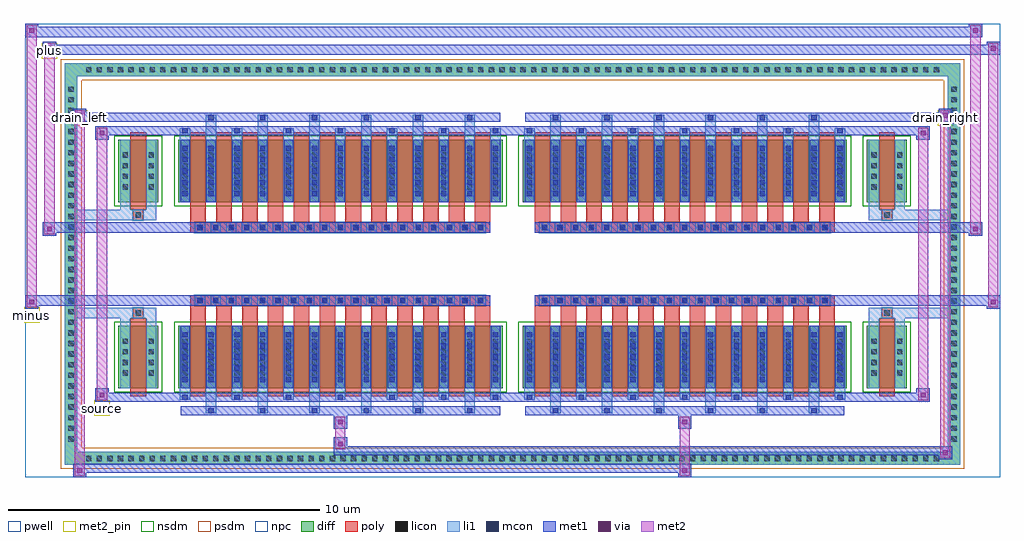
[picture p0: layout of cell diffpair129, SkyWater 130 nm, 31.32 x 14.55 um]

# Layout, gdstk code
import gdstk
lib = gdstk.Library(unit=1e-6, precision=5e-09)
def R(c, l, rs):  # rectangles x0, y0, x1, y1
    for r in rs: c.add(gdstk.rectangle(r[:2], r[2:], *l))
def A(c, l, x, y, w, h, nx, ny, dx, dy):  # array of equal rectangles
    R(c, l, [(x+i*dx, y+j*dy, x+i*dx+w, y+j*dy+h) for i in range(nx) for j in range(ny)])
def P(c, l, *ps):  # polygons
    for p in ps: c.add(gdstk.Polygon(p, *l))
pwell = (64, 44)
diff = (65, 20)
poly = (66, 20)
licon = (66, 44)
li1 = (67, 20)
mcon = (67, 44)
met1 = (68, 20)
via = (68, 44)
met2_pin = (69, 16)
met2 = (69, 20)
nsdm = (93, 44)
psdm = (94, 20)
npc = (95, 20)

diffpair129 = lib.new_cell('diffpair129')
R(diffpair129, pwell, [(-15.64,-6.84,15.64,7.71), (-12.96,-5.03,-0.01,-0.805), (0.01,-5.03,12.96,-0.805), (-12.96,0.805,-0.01,5.03), (0.01,0.805,12.96,5.03)])
A(diffpair129, diff, -13.805, -6.44, 0.41, 0.41, 81, 2, 0.34, 12.47)
A(diffpair129, diff, -14.37, -5.815, 0.41, 0.41, 1, 34, 0, 0.34)
A(diffpair129, diff, 13.96, -5.815, 0.41, 0.41, 1, 34, 0, 0.34)
R(diffpair129, diff, [(-13.805,-6.44,13.805,-6.03), (-14.37,-5.815,-13.96,5.815), (13.96,-5.815,14.37,5.815), (-12.65,-3.985,-11.37,-1.985), (-10.73,-3.985,-0.32,-1.985), (0.32,-3.985,10.73,-1.985), (11.37,-3.985,12.65,-1.985), (-12.65,1.985,-11.37,3.985), (-10.73,1.985,-0.32,3.985), (0.32,1.985,10.73,3.985), (11.37,1.985,12.65,3.985), (-13.805,6.03,13.805,6.44)])
P(diffpair129, diff, [(14.37,6.44),(-14.37,6.44),(-14.37,-6.03),(-13.96,-6.03),(-13.96,6.03),(13.96,6.03),(13.96,-6.03),(-13.96,-6.03),(-14.37,-6.03),(-14.37,-6.44),(14.37,-6.44)])
A(diffpair129, poly, -10.34, -4.235, 0.5, 2.5, 12, 2, 0.83, 5.97)
A(diffpair129, poly, 0.71, -4.235, 0.5, 2.5, 12, 2, 0.83, 5.97)
A(diffpair129, poly, -10.34, -1.735, 0.5, 0.4, 12, 2, 0.83, 3.07)
A(diffpair129, poly, 0.71, -1.735, 0.5, 0.4, 12, 2, 0.83, 3.07)
A(diffpair129, poly, -10.19, -1.335, 0.33, 0.33, 19, 2, 0.5, 2.34)
A(diffpair129, poly, 0.86, -1.335, 0.33, 0.33, 19, 2, 0.5, 2.34)
R(diffpair129, poly, [(-12.26,-4.235,-11.76,-1.735), (11.76,-4.235,12.26,-1.735), (-12.175,-1.735,-11.845,-1.405), (-12.175,-1.735,-11.845,-1.405), (11.845,-1.735,12.175,-1.405), (11.845,-1.735,12.175,-1.405), (-10.34,-1.335,-0.71,-1.005), (0.71,-1.335,10.34,-1.005), (-10.34,1.005,-0.71,1.335), (0.71,1.005,10.34,1.335), (-12.175,1.405,-11.845,1.735), (-12.175,1.405,-11.845,1.735), (11.845,1.405,12.175,1.735), (11.845,1.405,12.175,1.735), (-12.26,1.735,-11.76,4.235), (11.76,1.735,12.26,4.235)])
A(diffpair129, licon, -13.685, -6.32, 0.17, 0.17, 81, 2, 0.34, 12.47)
A(diffpair129, licon, -14.25, -5.695, 0.17, 0.17, 1, 34, 0, 0.34)
A(diffpair129, licon, 14.08, -5.695, 0.17, 0.17, 1, 34, 0, 0.34)
A(diffpair129, licon, -12.51, -3.58, 0.17, 0.17, 1, 4, 0, 0.34)
A(diffpair129, licon, -11.68, -3.58, 0.17, 0.17, 1, 4, 0, 0.34)
A(diffpair129, licon, -10.59, -3.58, 0.17, 0.17, 13, 4, 0.83, 0.34)
A(diffpair129, licon, 0.46, -3.58, 0.17, 0.17, 13, 4, 0.83, 0.34)
A(diffpair129, licon, 11.51, -3.58, 0.17, 0.17, 1, 4, 0, 0.34)
A(diffpair129, licon, 12.34, -3.58, 0.17, 0.17, 1, 4, 0, 0.34)
A(diffpair129, licon, -10.11, -1.255, 0.17, 0.17, 19, 2, 0.5, 2.34)
A(diffpair129, licon, 0.94, -1.255, 0.17, 0.17, 19, 2, 0.5, 2.34)
A(diffpair129, licon, -12.51, 2.39, 0.17, 0.17, 1, 4, 0, 0.34)
A(diffpair129, licon, -11.68, 2.39, 0.17, 0.17, 1, 4, 0, 0.34)
A(diffpair129, licon, -10.59, 2.39, 0.17, 0.17, 13, 4, 0.83, 0.34)
A(diffpair129, licon, 0.46, 2.39, 0.17, 0.17, 13, 4, 0.83, 0.34)
A(diffpair129, licon, 11.51, 2.39, 0.17, 0.17, 1, 4, 0, 0.34)
A(diffpair129, licon, 12.34, 2.39, 0.17, 0.17, 1, 4, 0, 0.34)
R(diffpair129, licon, [(-12.095,-1.655,-11.925,-1.485), (11.925,-1.655,12.095,-1.485), (-12.095,1.485,-11.925,1.655), (11.925,1.485,12.095,1.655)])
A(diffpair129, li1, -13.765, -6.4, 0.33, 0.33, 81, 2, 0.34, 12.47)
A(diffpair129, li1, -14.33, -5.775, 0.33, 0.33, 1, 34, 0, 0.34)
A(diffpair129, li1, 14, -5.775, 0.33, 0.33, 1, 34, 0, 0.34)
A(diffpair129, li1, -9.84, -4.79, 0.33, 0.805, 6, 2, 1.66, 8.775)
A(diffpair129, li1, -9.76, -4.79, 0.17, 0.17, 6, 2, 1.66, 9.41)
A(diffpair129, li1, 1.21, -4.79, 0.33, 0.805, 6, 2, 1.66, 8.775)
A(diffpair129, li1, 1.29, -4.79, 0.17, 0.17, 6, 2, 1.66, 9.41)
A(diffpair129, li1, -10.67, -4.36, 0.33, 0.375, 7, 2, 1.66, 8.345)
A(diffpair129, li1, -10.59, -4.36, 0.17, 0.17, 7, 2, 1.66, 8.55)
A(diffpair129, li1, 0.38, -4.36, 0.33, 0.375, 7, 2, 1.66, 8.345)
A(diffpair129, li1, 0.46, -4.36, 0.17, 0.17, 7, 2, 1.66, 8.55)
A(diffpair129, li1, -10.67, -3.985, 0.33, 2, 13, 2, 0.83, 5.97)
A(diffpair129, li1, 0.38, -3.985, 0.33, 2, 13, 2, 0.83, 5.97)
A(diffpair129, li1, -10.59, -3.79, 0.17, 0.17, 13, 5, 0.83, 0.36)
A(diffpair129, li1, -10.59, -3.79, 0.17, 1.61, 13, 2, 0.83, 5.97)
A(diffpair129, li1, 0.46, -3.79, 0.17, 0.17, 13, 5, 0.83, 0.36)
A(diffpair129, li1, 0.46, -3.79, 0.17, 1.61, 13, 2, 0.83, 5.97)
A(diffpair129, li1, -12.59, -3.66, 0.33, 0.33, 1, 4, 0, 0.34)
A(diffpair129, li1, -11.76, -3.66, 0.33, 0.33, 1, 4, 0, 0.34)
A(diffpair129, li1, -10.67, -3.66, 0.33, 0.33, 13, 4, 0.83, 0.34)
A(diffpair129, li1, 0.38, -3.66, 0.33, 0.33, 13, 4, 0.83, 0.34)
A(diffpair129, li1, 11.43, -3.66, 0.33, 0.33, 1, 4, 0, 0.34)
A(diffpair129, li1, 12.26, -3.66, 0.33, 0.33, 1, 4, 0, 0.34)
A(diffpair129, li1, -10.19, -1.335, 0.33, 0.33, 19, 2, 0.5, 2.34)
A(diffpair129, li1, 0.86, -1.335, 0.33, 0.33, 19, 2, 0.5, 2.34)
A(diffpair129, li1, -10.59, 2.18, 0.17, 0.17, 13, 5, 0.83, 0.36)
A(diffpair129, li1, 0.46, 2.18, 0.17, 0.17, 13, 5, 0.83, 0.36)
A(diffpair129, li1, -12.59, 2.31, 0.33, 0.33, 1, 4, 0, 0.34)
A(diffpair129, li1, -11.76, 2.31, 0.33, 0.33, 1, 4, 0, 0.34)
A(diffpair129, li1, -10.67, 2.31, 0.33, 0.33, 13, 4, 0.83, 0.34)
A(diffpair129, li1, 0.38, 2.31, 0.33, 0.33, 13, 4, 0.83, 0.34)
A(diffpair129, li1, 11.43, 2.31, 0.33, 0.33, 1, 4, 0, 0.34)
A(diffpair129, li1, 12.26, 2.31, 0.33, 0.33, 1, 4, 0, 0.34)
R(diffpair129, li1, [(-14.37,-6.44,-13.96,-6.03), (-14.37,-6.44,-13.96,-6.03), (-13.96,-6.44,13.96,-6.03), (13.96,-6.44,14.37,-6.03), (13.96,-6.44,14.37,-6.03), (-14.37,-6.03,-13.96,6.03), (13.96,-6.03,14.37,6.03), (-12.59,-3.985,-12.26,-1.985), (-11.76,-3.985,-11.43,-1.985), (11.43,-3.985,11.76,-1.985), (12.26,-3.985,12.59,-1.985), (-12.59,-1.985,-12.26,-1.405), (-11.76,-1.985,-11.43,-1.405), (11.43,-1.985,11.76,-1.405), (12.26,-1.985,12.59,-1.405), (-14.37,-1.735,-12.175,-1.405), (-12.59,-1.735,-12.175,-1.405), (-12.175,-1.735,-11.845,-1.405), (-11.845,-1.735,-11.43,-1.405), (11.43,-1.735,11.845,-1.405), (11.845,-1.735,12.175,-1.405), (11.845,-1.735,14.37,-1.405), (12.175,-1.735,12.59,-1.405), (-14.37,1.405,-12.175,1.735), (-12.59,1.405,-12.175,1.735), (-12.59,1.405,-12.26,1.985), (-12.175,1.405,-11.845,1.735), (-11.845,1.405,-11.43,1.735), (-11.76,1.405,-11.43,1.985), (11.43,1.405,11.845,1.735), (11.43,1.405,11.76,1.985), (11.845,1.405,12.175,1.735), (11.845,1.405,14.37,1.735), (12.175,1.405,12.59,1.735), (12.26,1.405,12.59,1.985), (-12.59,1.985,-12.26,3.985), (-11.76,1.985,-11.43,3.985), (11.43,1.985,11.76,3.985), (12.26,1.985,12.59,3.985), (-14.37,6.03,-13.96,6.44), (-14.37,6.03,-13.96,6.44), (-13.96,6.03,13.96,6.44), (13.96,6.03,14.37,6.44), (13.96,6.03,14.37,6.44)])
A(diffpair129, mcon, -9.76, -4.79, 0.17, 0.17, 6, 2, 1.66, 9.41)
A(diffpair129, mcon, 1.29, -4.79, 0.17, 0.17, 6, 2, 1.66, 9.41)
A(diffpair129, mcon, -10.59, -4.36, 0.17, 0.17, 7, 2, 1.66, 8.55)
A(diffpair129, mcon, 0.46, -4.36, 0.17, 0.17, 7, 2, 1.66, 8.55)
A(diffpair129, mcon, -10.59, -3.79, 0.17, 0.17, 13, 5, 0.83, 0.36)
A(diffpair129, mcon, 0.46, -3.79, 0.17, 0.17, 13, 5, 0.83, 0.36)
A(diffpair129, mcon, -10.11, -1.255, 0.17, 0.17, 19, 2, 0.5, 2.34)
A(diffpair129, mcon, 0.94, -1.255, 0.17, 0.17, 19, 2, 0.5, 2.34)
A(diffpair129, mcon, -10.59, 2.18, 0.17, 0.17, 13, 5, 0.83, 0.36)
A(diffpair129, mcon, 0.46, 2.18, 0.17, 0.17, 13, 5, 0.83, 0.36)
A(diffpair129, met1, -9.82, -4.85, 0.29, 0.29, 6, 2, 1.66, 9.41)
A(diffpair129, met1, 1.23, -4.85, 0.29, 0.29, 6, 2, 1.66, 9.41)
A(diffpair129, met1, -10.65, -4.42, 0.29, 0.29, 7, 2, 1.66, 8.55)
A(diffpair129, met1, 0.4, -4.42, 0.29, 0.29, 7, 2, 1.66, 8.55)
A(diffpair129, met1, -10.65, -3.985, 0.29, 2, 13, 2, 0.83, 5.97)
A(diffpair129, met1, 0.4, -3.985, 0.29, 2, 13, 2, 0.83, 5.97)
A(diffpair129, met1, -10.65, -3.85, 0.29, 0.29, 13, 5, 0.83, 0.36)
A(diffpair129, met1, 0.4, -3.85, 0.29, 0.29, 13, 5, 0.83, 0.36)
A(diffpair129, met1, -10.17, -1.315, 0.29, 0.29, 19, 2, 0.5, 2.34)
A(diffpair129, met1, 0.88, -1.315, 0.29, 0.29, 19, 2, 0.5, 2.34)
A(diffpair129, met1, -10.65, 2.12, 0.29, 0.29, 13, 5, 0.83, 0.36)
A(diffpair129, met1, 0.4, 2.12, 0.29, 0.29, 13, 5, 0.83, 0.36)
R(diffpair129, met1, [(-14.1,-6.84,-13.67,-6.41), (5.31,-6.84,5.74,-6.41), (-14.1,-6.7,5.74,-6.41), (13.67,-6.27,14.1,-5.84), (-5.74,-6.13,14.1,-5.84), (-5.74,-5.99,-5.31,-5.56), (-5.74,-5.28,-5.31,-4.85), (5.31,-5.28,5.74,-4.85), (-10.65,-4.85,-0.4,-4.56), (0.4,-4.85,10.65,-4.56), (-13.39,-4.42,-12.96,-3.99), (-13.39,-4.42,-10.65,-4.13), (-10.65,-4.42,-0.4,-4.13), (-0.4,-4.42,0.4,-4.13), (0.4,-4.42,10.65,-4.13), (10.65,-4.42,13.39,-4.13), (12.96,-4.42,13.39,-3.99), (-15.64,-1.435,-15.21,-1.005), (15.21,-1.435,15.64,-1.005), (-15.64,-1.335,-0.71,-1.005), (-10.34,-1.335,-0.71,-1.005), (0.71,-1.335,10.34,-1.005), (0.71,-1.335,15.64,-1.005), (-15.07,0.905,-14.64,1.335), (14.64,0.905,15.07,1.335), (-15.07,1.005,-10.34,1.335), (-10.34,1.005,-0.71,1.335), (0.71,1.005,10.34,1.335), (10.34,1.005,15.07,1.335), (-13.39,3.99,-12.96,4.42), (12.96,3.99,13.39,4.42), (-13.39,4.13,-10.65,4.42), (-10.65,4.13,-0.4,4.42), (-0.4,4.13,0.4,4.42), (0.4,4.13,10.65,4.42), (10.65,4.13,13.39,4.42), (-14.1,4.56,-13.67,4.99), (-14.1,4.56,-10.65,4.85), (-10.65,4.56,-0.4,4.85), (0.4,4.56,10.65,4.85), (10.65,4.56,14.1,4.85), (13.67,4.56,14.1,4.99), (-15.07,6.71,-14.64,7.14), (-15.07,6.71,-12.96,7.04), (-12.96,6.71,12.96,7.04), (12.96,6.71,15.64,7.04), (15.21,6.71,15.64,7.14), (-15.64,7.28,-15.21,7.71), (-15.64,7.28,-12.96,7.61), (-12.96,7.28,12.96,7.61), (12.96,7.28,15.07,7.61), (14.64,7.28,15.07,7.71)])
R(diffpair129, via, [(-13.96,-6.7,-13.81,-6.55), (5.45,-6.7,5.6,-6.55), (13.81,-6.13,13.96,-5.98), (-5.6,-5.85,-5.45,-5.7), (-5.6,-5.14,-5.45,-4.99), (5.45,-5.14,5.6,-4.99), (-13.25,-4.28,-13.1,-4.13), (13.1,-4.28,13.25,-4.13), (-15.5,-1.295,-15.35,-1.145), (15.35,-1.295,15.5,-1.145), (-14.93,1.045,-14.78,1.195), (14.78,1.045,14.93,1.195), (-13.25,4.13,-13.1,4.28), (13.1,4.13,13.25,4.28), (-13.96,4.7,-13.81,4.85), (13.81,4.7,13.96,4.85), (-14.93,6.85,-14.78,7), (15.35,6.85,15.5,7), (-15.5,7.42,-15.35,7.57), (14.78,7.42,14.93,7.57)])
R(diffpair129, met2_pin, [(-13.425,-4.87,-12.925,-4.37), (-15.675,-1.885,-15.175,-1.385), (-14.135,4.44,-13.635,4.94), (13.635,4.44,14.135,4.94), (-15.105,6.59,-14.605,7.09)])
R(diffpair129, met2, [(-14.05,-6.79,-13.72,-6.46), (-14.05,-6.79,-13.72,4.94), (5.36,-6.79,5.69,-6.46), (5.36,-6.46,5.69,-5.23), (13.72,-6.22,14.05,-5.89), (13.72,-6.22,14.05,4.94), (-5.69,-5.94,-5.36,-5.61), (-5.69,-5.61,-5.36,-5.23), (-5.69,-5.23,-5.36,-4.9), (5.36,-5.23,5.69,-4.9), (-13.34,-4.37,-13.01,-4.04), (-13.34,-4.37,-13.01,4.37), (13.01,-4.37,13.34,-4.04), (13.01,-4.37,13.34,4.37), (-15.59,-1.385,-15.26,-1.055), (-15.59,-1.385,-15.26,7.66), (15.26,-1.385,15.59,-1.055), (15.26,-1.385,15.59,7.09), (-15.02,0.955,-14.69,1.285), (-15.02,0.955,-14.69,7.09), (14.69,0.955,15.02,1.285), (14.69,0.955,15.02,7.66), (-13.34,4.04,-13.01,4.37), (13.01,4.04,13.34,4.37), (-14.05,4.61,-13.72,4.94), (13.72,4.61,14.05,4.94), (-15.02,6.76,-14.69,7.09), (15.26,6.76,15.59,7.09), (-15.59,7.33,-15.26,7.66), (14.69,7.33,15.02,7.66)])
P(diffpair129, met2, [(15.59,-1.385),(15.59,-1.385),(15.59,-1.055),(15.59,-1.055)],
  [(15.59,6.76),(15.59,6.76),(15.59,7.09),(15.59,7.09)],
  [(-15.26,-1.385),(-15.26,-1.385),(-15.26,-1.055),(-15.26,-1.055)],
  [(-15.26,7.33),(-15.26,7.33),(-15.26,7.66),(-15.26,7.66)],
  [(15.02,0.955),(15.02,0.955),(15.02,1.285),(15.02,1.285)],
  [(15.02,7.33),(15.02,7.33),(15.02,7.66),(15.02,7.66)],
  [(-14.69,0.955),(-14.69,0.955),(-14.69,1.285),(-14.69,1.285)],
  [(-14.69,6.76),(-14.69,6.76),(-14.69,7.09),(-14.69,7.09)],
  [(-13.72,-6.79),(-13.72,-6.79),(-13.72,-6.46),(-13.72,-6.46)],
  [(-13.72,4.61),(-13.72,4.61),(-13.72,4.94),(-13.72,4.94)],
  [(14.05,-6.22),(14.05,-6.22),(14.05,-5.89),(14.05,-5.89)],
  [(14.05,4.61),(14.05,4.61),(14.05,4.94),(14.05,4.94)],
  [(-13.01,-4.37),(-13.01,-4.37),(-13.01,-4.04),(-13.01,-4.04)],
  [(-13.01,4.04),(-13.01,4.04),(-13.01,4.37),(-13.01,4.37)],
  [(13.34,-4.37),(13.34,-4.37),(13.34,-4.04),(13.34,-4.04)],
  [(13.34,4.04),(13.34,4.04),(13.34,4.37),(13.34,4.37)])
R(diffpair129, nsdm, [(-12.78,-4.115,-11.24,-1.855), (-10.86,-4.115,-0.19,-1.855), (0.19,-4.115,10.86,-1.855), (11.24,-4.115,12.78,-1.855), (-12.78,1.855,-11.24,4.115), (-10.86,1.855,-0.19,4.115), (0.19,1.855,10.86,4.115), (11.24,1.855,12.78,4.115)])
P(diffpair129, psdm, [(14.5,6.57),(-14.5,6.57),(-14.5,-5.9),(-13.83,-5.9),(-13.83,5.9),(13.83,5.9),(13.83,-5.9),(-13.83,-5.9),(-14.5,-5.9),(-14.5,-6.57),(14.5,-6.57)])
A(diffpair129, npc, -10.21, -1.355, 0.37, 0.37, 19, 2, 0.5, 2.34)
A(diffpair129, npc, 0.84, -1.355, 0.37, 0.37, 19, 2, 0.5, 2.34)
R(diffpair129, npc, [(-12.195,-1.755,-11.825,-1.385), (11.825,-1.755,12.195,-1.385), (-10.21,-1.355,-9.34,-0.985), (-10.21,-1.355,-9.34,-0.985), (-9.71,-1.355,-8.84,-0.985), (-9.71,-1.355,-8.84,-0.985), (-9.21,-1.355,-8.34,-0.985), (-9.21,-1.355,-8.34,-0.985), (-8.71,-1.355,-7.84,-0.985), (-8.71,-1.355,-7.84,-0.985), (-8.21,-1.355,-7.34,-0.985), (-8.21,-1.355,-7.34,-0.985), (-7.71,-1.355,-6.84,-0.985), (-7.71,-1.355,-6.84,-0.985), (-7.21,-1.355,-6.34,-0.985), (-7.21,-1.355,-6.34,-0.985), (-6.71,-1.355,-5.84,-0.985), (-6.71,-1.355,-5.84,-0.985), (-6.21,-1.355,-5.34,-0.985), (-6.21,-1.355,-5.34,-0.985), (-5.71,-1.355,-4.84,-0.985), (-5.71,-1.355,-4.84,-0.985), (-5.21,-1.355,-4.34,-0.985), (-5.21,-1.355,-4.34,-0.985), (-4.71,-1.355,-3.84,-0.985), (-4.71,-1.355,-3.84,-0.985), (-4.21,-1.355,-3.34,-0.985), (-4.21,-1.355,-3.34,-0.985), (-3.71,-1.355,-2.84,-0.985), (-3.71,-1.355,-2.84,-0.985), (-3.21,-1.355,-2.34,-0.985), (-3.21,-1.355,-2.34,-0.985), (-2.71,-1.355,-1.84,-0.985), (-2.71,-1.355,-1.84,-0.985), (-2.21,-1.355,-1.34,-0.985), (-2.21,-1.355,-1.34,-0.985), (-1.71,-1.355,-0.84,-0.985), (-1.71,-1.355,-0.84,-0.985), (0.84,-1.355,1.71,-0.985), (0.84,-1.355,1.71,-0.985), (1.34,-1.355,2.21,-0.985), (1.34,-1.355,2.21,-0.985), (1.84,-1.355,2.71,-0.985), (1.84,-1.355,2.71,-0.985), (2.34,-1.355,3.21,-0.985), (2.34,-1.355,3.21,-0.985), (2.84,-1.355,3.71,-0.985), (2.84,-1.355,3.71,-0.985), (3.34,-1.355,4.21,-0.985), (3.34,-1.355,4.21,-0.985), (3.84,-1.355,4.71,-0.985), (3.84,-1.355,4.71,-0.985), (4.34,-1.355,5.21,-0.985), (4.34,-1.355,5.21,-0.985), (4.84,-1.355,5.71,-0.985), (4.84,-1.355,5.71,-0.985), (5.34,-1.355,6.21,-0.985), (5.34,-1.355,6.21,-0.985), (5.84,-1.355,6.71,-0.985), (5.84,-1.355,6.71,-0.985), (6.34,-1.355,7.21,-0.985), (6.34,-1.355,7.21,-0.985), (6.84,-1.355,7.71,-0.985), (6.84,-1.355,7.71,-0.985), (7.34,-1.355,8.21,-0.985), (7.34,-1.355,8.21,-0.985), (7.84,-1.355,8.71,-0.985), (7.84,-1.355,8.71,-0.985), (8.34,-1.355,9.21,-0.985), (8.34,-1.355,9.21,-0.985), (8.84,-1.355,9.71,-0.985), (8.84,-1.355,9.71,-0.985), (9.34,-1.355,10.21,-0.985), (9.34,-1.355,10.21,-0.985), (-10.21,0.985,-9.34,1.355), (-10.21,0.985,-9.34,1.355), (-9.71,0.985,-8.84,1.355), (-9.71,0.985,-8.84,1.355), (-9.21,0.985,-8.34,1.355), (-9.21,0.985,-8.34,1.355), (-8.71,0.985,-7.84,1.355), (-8.71,0.985,-7.84,1.355), (-8.21,0.985,-7.34,1.355), (-8.21,0.985,-7.34,1.355), (-7.71,0.985,-6.84,1.355), (-7.71,0.985,-6.84,1.355), (-7.21,0.985,-6.34,1.355), (-7.21,0.985,-6.34,1.355), (-6.71,0.985,-5.84,1.355), (-6.71,0.985,-5.84,1.355), (-6.21,0.985,-5.34,1.355), (-6.21,0.985,-5.34,1.355), (-5.71,0.985,-4.84,1.355), (-5.71,0.985,-4.84,1.355), (-5.21,0.985,-4.34,1.355), (-5.21,0.985,-4.34,1.355), (-4.71,0.985,-3.84,1.355), (-4.71,0.985,-3.84,1.355), (-4.21,0.985,-3.34,1.355), (-4.21,0.985,-3.34,1.355), (-3.71,0.985,-2.84,1.355), (-3.71,0.985,-2.84,1.355), (-3.21,0.985,-2.34,1.355), (-3.21,0.985,-2.34,1.355), (-2.71,0.985,-1.84,1.355), (-2.71,0.985,-1.84,1.355), (-2.21,0.985,-1.34,1.355), (-2.21,0.985,-1.34,1.355), (-1.71,0.985,-0.84,1.355), (-1.71,0.985,-0.84,1.355), (0.84,0.985,1.71,1.355), (0.84,0.985,1.71,1.355), (1.34,0.985,2.21,1.355), (1.34,0.985,2.21,1.355), (1.84,0.985,2.71,1.355), (1.84,0.985,2.71,1.355), (2.34,0.985,3.21,1.355), (2.34,0.985,3.21,1.355), (2.84,0.985,3.71,1.355), (2.84,0.985,3.71,1.355), (3.34,0.985,4.21,1.355), (3.34,0.985,4.21,1.355), (3.84,0.985,4.71,1.355), (3.84,0.985,4.71,1.355), (4.34,0.985,5.21,1.355), (4.34,0.985,5.21,1.355), (4.84,0.985,5.71,1.355), (4.84,0.985,5.71,1.355), (5.34,0.985,6.21,1.355), (5.34,0.985,6.21,1.355), (5.84,0.985,6.71,1.355), (5.84,0.985,6.71,1.355), (6.34,0.985,7.21,1.355), (6.34,0.985,7.21,1.355), (6.84,0.985,7.71,1.355), (6.84,0.985,7.71,1.355), (7.34,0.985,8.21,1.355), (7.34,0.985,8.21,1.355), (7.84,0.985,8.71,1.355), (7.84,0.985,8.71,1.355), (8.34,0.985,9.21,1.355), (8.34,0.985,9.21,1.355), (8.84,0.985,9.71,1.355), (8.84,0.985,9.71,1.355), (9.34,0.985,10.21,1.355), (9.34,0.985,10.21,1.355), (-12.195,1.385,-11.825,1.755), (11.825,1.385,12.195,1.755)])
diffpair129.add(gdstk.Label('minus', (-15.425,-1.635), layer=69, texttype=5))
diffpair129.add(gdstk.Label('drain_right', (13.885,4.69), layer=69, texttype=5))
diffpair129.add(gdstk.Label('drain_left', (-13.885,4.69), layer=69, texttype=5))
diffpair129.add(gdstk.Label('source', (-13.175,-4.62), layer=69, texttype=5))
diffpair129.add(gdstk.Label('plus', (-14.855,6.84), layer=69, texttype=5))

lib.write_gds('diffpair129.gds')
